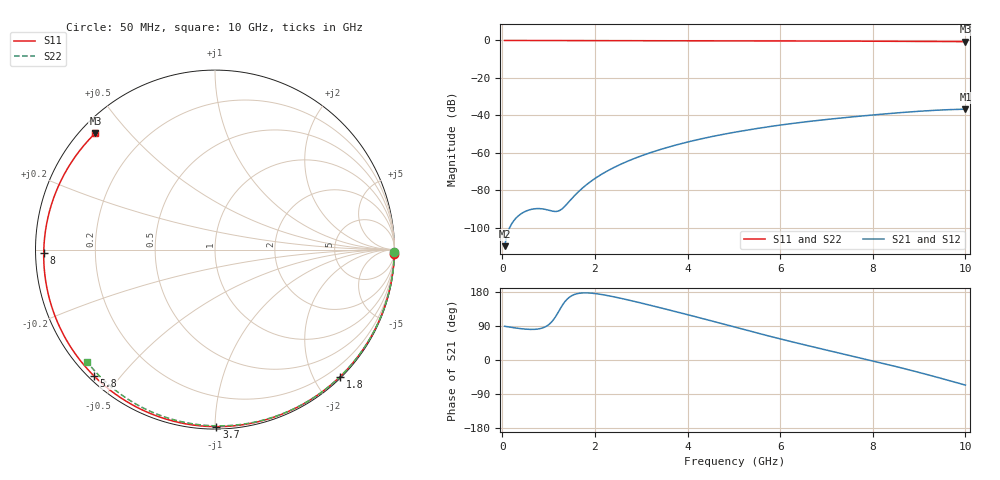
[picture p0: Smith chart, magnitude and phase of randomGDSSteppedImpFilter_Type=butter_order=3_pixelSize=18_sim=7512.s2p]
! freq	dB(S11)	phase(S11)	dB(S12)	phase(S12)
!  dB(S21)	phase(S21)	dB(S22)	phase(S22)
!S-par simulation data
#  GHz  S  DB  R 50
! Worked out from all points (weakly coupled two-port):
!   200 points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, 50 MHz to 10 GHz, reference 50 ohm
!   highest |S21| = -36.67 dB at 10 GHz (marker M1); lowest = -109.7 dB at 50 MHz (marker M2)
!   lowest |S11| = -0.6 dB at 10 GHz (marker M3), VSWR 27.77, Z = 2.1 + j20.3 ohm
!   |S11| at or under -10 dB: nowhere
!   |S22| runs from -0.5 to 0.0 dB; largest |S21 - S12| = 0
!   S11 on the Smith chart (normalised r, x): 50 MHz: 0, -88; 1.8 GHz: 0.02, -2.39; 3.7 GHz: 0.01, -1.01; 5.8 GHz: 0.02, -0.43; 8 GHz: 0.02, -0.01; 10 GHz: 0.04, +0.41
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0.05  -0.00 -1.3  -109.74 89.1  -109.74 89.1  -0.00 -0.8
0.4  -0.02 -10.3  -92.55 82.7  -92.55 82.7  -0.01 -6.4
0.8  -0.03 -20.5  -89.70 82.3  -89.70 82.3  -0.02 -12.7
1.2  -0.04 -30.6  -91.08 124.4  -91.08 124.4  -0.02 -19.0
1.65  -0.05 -41.8  -80.58 175.8  -80.58 175.8  -0.03 -26.1
1.7  -0.05 -43.0  -79.43 176.7  -79.43 176.7  -0.03 -26.8
1.75  -0.06 -44.2  -78.34 177.1  -78.34 177.1  -0.04 -27.6
1.8  -0.06 -45.4  -77.31 177.2  -77.31 177.2  -0.04 -28.4
2.1  -0.07 -52.7  -72.05 173.7  -72.05 173.7  -0.04 -33.0
2.45  -0.08 -61.1  -67.29 165.7  -67.29 165.7  -0.05 -38.4
2.9  -0.09 -71.5  -62.50 153.2  -62.50 153.2  -0.06 -45.1
3.4  -0.11 -82.9  -58.27 138.3  -58.27 138.3  -0.07 -52.5
3.7  -0.12 -89.5  -56.12 129.0  -56.12 129.0  -0.08 -56.9
4.35  -0.14 -103.6  -52.19 108.6  -52.19 108.6  -0.09 -66.2
5.05  -0.18 -118.3  -48.82 86.0  -48.82 86.0  -0.12 -76.0
5.8  -0.22 -133.7  -45.84 61.8  -45.84 61.8  -0.15 -86.1
6.7  -0.29 -152.0  -42.98 34.9  -42.98 34.9  -0.19 -97.9
7.35  -0.34 -165.3  -41.27 16.2  -41.27 16.2  -0.23 -106.1
8  -0.40 -178.9  -39.75 -2.4  -39.75 -2.4  -0.28 -114.2
8.35  -0.44 173.6  -39.00 -12.7  -39.00 -12.7  -0.30 -118.6
9.15  -0.54 155.8  -37.53 -37.6  -37.53 -37.6  -0.38 -128.3
10  -0.63 135.7  -36.67 -66.3  -36.67 -66.3  -0.46 -138.7
